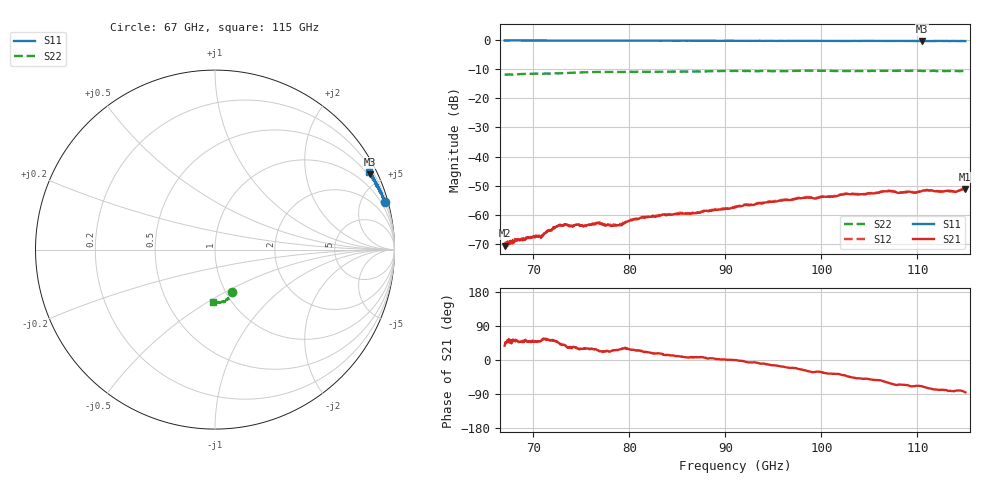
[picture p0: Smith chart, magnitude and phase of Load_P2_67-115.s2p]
! Generated by S-View
! Download App: https://apps.microsoft.com/detail/9MT55KNCWHML
! Source: Load_mTRLcal_LP.s2p [Renumber [2,1]]
! Exported: 2026-03-03 19:13:48
! Note: Exported from a derived (virtual) item.
# HZ S DB R 50
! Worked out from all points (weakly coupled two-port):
!   1001 points, 67 GHz to 115 GHz, reference 50 ohm
!   highest |S21| = -51.12 dB at 115 GHz (marker M1); lowest = -70.6 dB at 67.05 GHz (marker M2)
!   lowest |S11| = -0.4 dB at 110.4 GHz (marker M3), VSWR 49.22, Z = 20.2 + j216 ohm
!   |S11| at or under -10 dB: nowhere
!   |S22| runs from -11.9 to -10.5 dB; largest |S21 - S12| = 0.0001
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6.7e10  -0.15 15.6  -70.32 37.7  -70.33 35.4  -11.84 -68.1
6.7048e10  -0.14 15.6  -70.59 43.1  -70.38 42.4  -11.83 -68.2
6.8248e10  -0.14 15.6  -68.79 52.2  -68.75 50.4  -11.74 -69.0
7.0792e10  -0.15 16.3  -67.96 50.9  -67.39 53.6  -11.51 -70.2
7.2616e10  -0.17 16.7  -63.73 45.4  -63.66 47.3  -11.44 -71.2
7.3384e10  -0.16 16.9  -63.24 36.2  -63.40 38.8  -11.32 -71.5
7.5016e10  -0.19 17.2  -63.61 29.3  -63.71 31.0  -11.12 -72.1
7.6696e10  -0.18 17.6  -62.74 25.9  -62.65 29.5  -10.94 -72.9
7.8136e10  -0.19 18.0  -63.89 24.2  -63.54 26.8  -10.94 -74.0
7.8952e10  -0.18 18.2  -63.59 28.1  -63.31 30.3  -10.96 -74.4
8.1208e10  -0.18 18.6  -60.96 23.3  -60.90 26.0  -10.91 -75.7
8.3032e10  -0.21 19.0  -60.40 17.5  -60.25 20.1  -10.89 -76.6
8.6536e10  -0.23 19.9  -59.44 8.0  -59.40 9.5  -10.80 -78.4
9.1e10  -0.26 20.9  -57.47 -0.1  -57.20 1.5  -10.58 -80.5
9.7624e10  -0.26 22.4  -54.36 -23.4  -54.18 -22.0  -10.58 -83.5
9.9016e10  -0.27 23.0  -54.26 -32.1  -54.05 -30.5  -10.51 -84.3
1.07032e11  -0.29 25.1  -51.84 -60.3  -51.71 -59.7  -10.59 -88.3
1.08136e11  -0.32 25.2  -52.42 -64.6  -52.24 -64.0  -10.53 -88.8
1.1044e11  -0.35 25.8  -51.90 -68.8  -51.71 -68.4  -10.63 -90.2
1.13848e11  -0.30 26.4  -52.08 -82.5  -52.05 -80.8  -10.62 -91.8
1.14952e11  -0.34 26.8  -51.12 -84.6  -51.08 -84.1  -10.64 -92.6
1.15e11  -0.33 26.9  -51.16 -85.5  -51.05 -84.3  -10.64 -92.6
